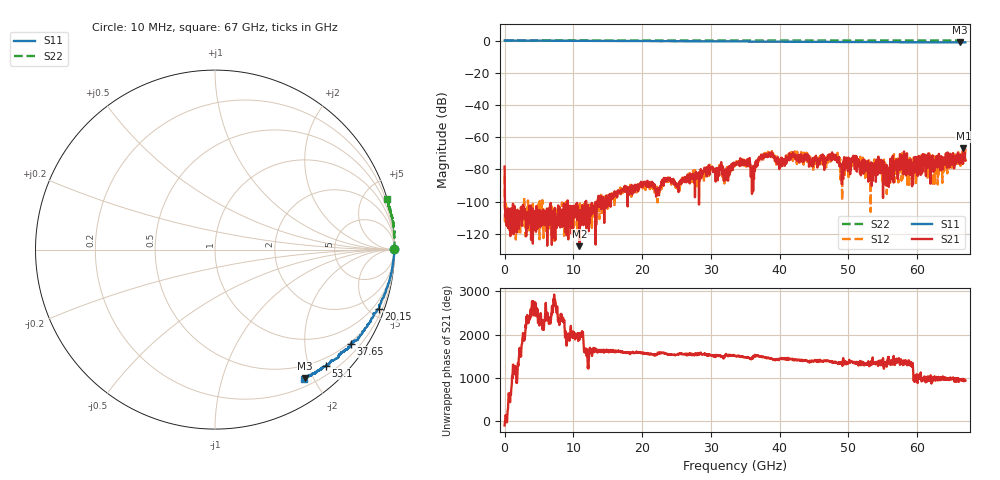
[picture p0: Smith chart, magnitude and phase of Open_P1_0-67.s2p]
!Keysight Technologies,N5247B,MY61256062,A.16.20.04
!Date: Saturday, November 29, 2025 06:34:07
!Correction: S11(C  2-Port  )
!S21(C  2-Port  )
!S12(C  2-Port  )
!S22(C  2-Port  )
!S2P File: Measurements: S11, S21, S12, S22:
# Hz S  dB  R 50
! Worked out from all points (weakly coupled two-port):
!   1601 points, 10 MHz to 67 GHz, reference 50 ohm
!   highest |S21| = -67.05 dB at 66.71 GHz (marker M1); lowest = -127.7 dB at 10.9 GHz (marker M2)
!   lowest |S11| = -1.2 dB at 66.2 GHz (marker M3), VSWR 14.82, Z = 15.6 - j94.1 ohm
!   |S11| at or under -10 dB: nowhere
!   |S22| runs from 0.0 to 0.0 dB; largest |S21 - S12| = 0.00034
!   S11 on the Smith chart (normalised r, x): 10 MHz: open; 20.15 GHz: 0.53, -5.66; 37.65 GHz: 0.45, -3.14; 53.1 GHz: 0.35, -2.29; 67 GHz: 0.30, -1.86
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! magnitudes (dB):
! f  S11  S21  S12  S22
! 10 MHz  0.0  -78.3  -84.0  0.0
! 10.9 GHz  -0.1  -127.7  -106.1  0.0
! 11.19 GHz  -0.1  -106.1  -106.0  0.0
! 20.15 GHz  -0.3  -88.3  -89.9  0.0
! 22.37 GHz  -0.4  -93.6  -95.5  0.0
! 32.29 GHz  -0.5  -81.3  -81.9  0.0
! 33.51 GHz  -0.6  -76.1  -75.6  0.0
! 36.02 GHz  -0.7  -82.9  -82.6  0.0
! 37.65 GHz  -0.7  -72.6  -71.5  0.0
! 44.68 GHz  -0.8  -75.6  -73.5  0.0
! 47.49 GHz  -0.9  -71.3  -69.9  0.0
! 49 GHz  -0.9  -78.4  -81.4  0.0
! 50.84 GHz  -0.9  -75.2  -74.3  0.0
! 53.1 GHz  -1.0  -79.3  -84.4  0.0
! 55.86 GHz  -1.0  -90.9  -81.2  0.0
! 57.33 GHz  -1.0  -74.5  -74.5  0.0
! 60.01 GHz  -1.1  -79.7  -74.0  0.0
! 61.47 GHz  -1.1  -73.4  -71.4  0.0
! 62.9 GHz  -1.1  -75.2  -79.8  0.0
! 66.2 GHz  -1.2  -76.6  -71.3  0.0
! 66.71 GHz  -1.2  -67.1  -69.2  0.0
! 67 GHz  -1.2  -74.6  -75.0  0.0
